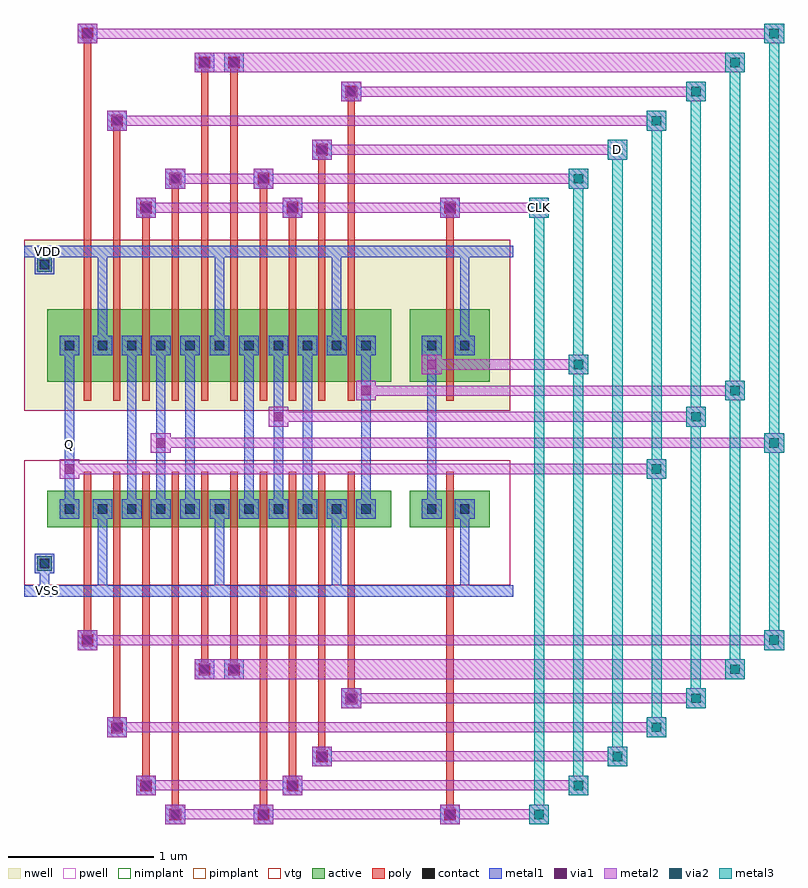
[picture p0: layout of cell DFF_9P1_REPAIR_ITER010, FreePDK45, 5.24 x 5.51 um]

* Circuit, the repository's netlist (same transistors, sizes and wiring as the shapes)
* cell DFF_9P1_REPAIR_ITER010
* pin CLK
* pin D
* pin Q
* pin VDD
* pin VSS
.SUBCKT DFF_9P1_REPAIR_ITER010 1 3 4 12 13
* net 1 CLK
* net 3 D
* net 4 Q
* net 12 VDD
* net 13 VSS
* device instance $1 r0 *1 0.4375,1.73 PMOS_VTG
M$1 12 7 4 12 PMOS_VTG L=0.05U W=0.5U AS=0.12625P AD=0.038125P PS=1.505U
+ PD=0.6525U
* device instance $2 r0 *1 0.64,1.73 PMOS_VTG
M$2 8 4 12 12 PMOS_VTG L=0.05U W=0.5U AS=0.038125P AD=0.0375P PS=0.6525U
+ PD=0.65U
* device instance $3 r0 *1 0.84,1.73 PMOS_VTG
M$3 7 1 8 12 PMOS_VTG L=0.05U W=0.5U AS=0.0375P AD=0.038125P PS=0.65U PD=0.6525U
* device instance $4 r0 *1 1.0425,1.73 PMOS_VTG
M$4 9 2 7 12 PMOS_VTG L=0.05U W=0.5U AS=0.038125P AD=0.038125P PS=0.6525U
+ PD=0.6525U
* device instance $5 r0 *1 1.245,1.73 PMOS_VTG
M$5 12 6 9 12 PMOS_VTG L=0.05U W=0.5U AS=0.038125P AD=0.038125P PS=0.6525U
+ PD=0.6525U
* device instance $6 r0 *1 1.4475,1.73 PMOS_VTG
M$6 10 6 12 12 PMOS_VTG L=0.05U W=0.5U AS=0.038125P AD=0.038125P PS=0.6525U
+ PD=0.6525U
* device instance $7 r0 *1 1.65,1.73 PMOS_VTG
M$7 5 2 10 12 PMOS_VTG L=0.05U W=0.5U AS=0.038125P AD=0.0375P PS=0.6525U
+ PD=0.65U
* device instance $8 r0 *1 1.85,1.73 PMOS_VTG
M$8 11 1 5 12 PMOS_VTG L=0.05U W=0.5U AS=0.0375P AD=0.038125P PS=0.65U
+ PD=0.6525U
* device instance $9 r0 *1 2.0525,1.73 PMOS_VTG
M$9 12 3 11 12 PMOS_VTG L=0.05U W=0.5U AS=0.038125P AD=0.038125P PS=0.6525U
+ PD=0.6525U
* device instance $10 r0 *1 2.255,1.73 PMOS_VTG
M$10 6 5 12 12 PMOS_VTG L=0.05U W=0.5U AS=0.038125P AD=0.12625P PS=0.6525U
+ PD=1.505U
* device instance $11 r0 *1 2.935,1.73 PMOS_VTG
M$11 12 1 2 12 PMOS_VTG L=0.05U W=0.5U AS=0.12625P AD=0.125P PS=1.505U PD=1.5U
* device instance $12 r0 *1 2.935,0.605 NMOS_VTG
M$12 13 1 2 13 NMOS_VTG L=0.05U W=0.25U AS=0.063125P AD=0.0625P PS=1.005U PD=1U
* device instance $13 r0 *1 0.4375,0.605 NMOS_VTG
M$13 13 7 4 13 NMOS_VTG L=0.05U W=0.25U AS=0.063125P AD=0.0190625P PS=1.005U
+ PD=0.4025U
* device instance $14 r0 *1 0.64,0.605 NMOS_VTG
M$14 8 4 13 13 NMOS_VTG L=0.05U W=0.25U AS=0.0190625P AD=0.01875P PS=0.4025U
+ PD=0.4U
* device instance $15 r0 *1 0.84,0.605 NMOS_VTG
M$15 7 2 8 13 NMOS_VTG L=0.05U W=0.25U AS=0.01875P AD=0.0190625P PS=0.4U
+ PD=0.4025U
* device instance $16 r0 *1 1.0425,0.605 NMOS_VTG
M$16 9 1 7 13 NMOS_VTG L=0.05U W=0.25U AS=0.0190625P AD=0.0190625P PS=0.4025U
+ PD=0.4025U
* device instance $17 r0 *1 1.245,0.605 NMOS_VTG
M$17 13 6 9 13 NMOS_VTG L=0.05U W=0.25U AS=0.0190625P AD=0.0190625P PS=0.4025U
+ PD=0.4025U
* device instance $18 r0 *1 1.4475,0.605 NMOS_VTG
M$18 10 6 13 13 NMOS_VTG L=0.05U W=0.25U AS=0.0190625P AD=0.0190625P PS=0.4025U
+ PD=0.4025U
* device instance $19 r0 *1 1.65,0.605 NMOS_VTG
M$19 5 1 10 13 NMOS_VTG L=0.05U W=0.25U AS=0.0190625P AD=0.01875P PS=0.4025U
+ PD=0.4U
* device instance $20 r0 *1 1.85,0.605 NMOS_VTG
M$20 11 2 5 13 NMOS_VTG L=0.05U W=0.25U AS=0.01875P AD=0.0190625P PS=0.4U
+ PD=0.4025U
* device instance $21 r0 *1 2.0525,0.605 NMOS_VTG
M$21 13 3 11 13 NMOS_VTG L=0.05U W=0.25U AS=0.0190625P AD=0.0190625P PS=0.4025U
+ PD=0.4025U
* device instance $22 r0 *1 2.255,0.605 NMOS_VTG
M$22 6 5 13 13 NMOS_VTG L=0.05U W=0.25U AS=0.0190625P AD=0.063125P PS=0.4025U
+ PD=1.005U
.ENDS DFF_9P1_REPAIR_ITER010

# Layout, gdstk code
import gdstk
lib = gdstk.Library(unit=1e-6, precision=2.5e-09)
def R(c, l, rs):  # rectangles x0, y0, x1, y1
    for r in rs: c.add(gdstk.rectangle(r[:2], r[2:], *l))
def A(c, l, x, y, w, h, nx, ny, dx, dy):  # array of equal rectangles
    R(c, l, [(x+i*dx, y+j*dy, x+i*dx+w, y+j*dy+h) for i in range(nx) for j in range(ny)])
active = (1, 0)
pwell = (2, 0)
nwell = (3, 0)
nimplant = (4, 0)
pimplant = (5, 0)
vtg = (6, 0)
poly = (9, 0)
contact = (10, 0)
metal1 = (11, 0)
via1 = (12, 0)
metal2 = (13, 0)
via2 = (14, 0)
metal3 = (15, 0)

dff_9p1_repair_iter010 = lib.new_cell('DFF_9P1_REPAIR_ITER010')
R(dff_9p1_repair_iter010, active, [(0.09,0.18,0.19,0.28), (0.16,0.48,2.5325,0.73), (2.6575,0.48,3.21,0.73), (0.16,1.48,2.5325,1.98), (2.6575,1.48,3.21,1.98), (0.09,2.24,0.19,2.34)])
R(dff_9p1_repair_iter010, pwell, [(0,0.08,3.35,0.94), (0.02,0.24,3.35,0.94)])
R(dff_9p1_repair_iter010, nwell, [(0,1.28,3.35,2.46), (0.02,1.28,3.35,2.2)])
R(dff_9p1_repair_iter010, nimplant, [(0.16,0.48,2.5325,0.73), (2.6575,0.48,3.21,0.73), (0.09,2.24,0.19,2.34)])
R(dff_9p1_repair_iter010, pimplant, [(0.09,0.18,0.19,0.28), (0.16,1.48,2.5325,1.98), (2.6575,1.48,3.21,1.98)])
R(dff_9p1_repair_iter010, vtg, [(0,0.08,3.35,0.94), (0.02,0.24,3.35,0.94), (0,1.28,3.35,2.46), (0.02,1.28,3.35,2.2)])
A(dff_9p1_repair_iter010, poly, 0.815, 0.35, 0.05, 0.51, 5, 1, 0.2025, 0)
A(dff_9p1_repair_iter010, poly, 1.825, 0.35, 0.05, 0.51, 3, 1, 0.2025, 0)
A(dff_9p1_repair_iter010, poly, 0.815, 1.35, 0.05, 0.76, 5, 1, 0.2025, 0)
A(dff_9p1_repair_iter010, poly, 1.825, 1.35, 0.05, 0.76, 3, 1, 0.2025, 0)
R(dff_9p1_repair_iter010, poly, [(1.0025,-1.54,1.0825,-1.46), (1.0175,-1.54,1.0675,0.35), (1.61,-1.54,1.69,-1.46), (1.625,-1.54,1.675,0.35), (2.895,-1.54,2.975,-1.46), (2.91,-1.54,2.96,0.35), (0.8,-1.34,0.88,-1.26), (0.815,-1.34,0.865,0.35), (1.81,-1.34,1.89,-1.26), (1.825,-1.34,1.875,0.35), (2.0125,-1.14,2.0925,-1.06), (2.0275,-1.14,2.0775,0.35), (0.6,-0.94,0.68,-0.86), (0.615,-0.94,0.665,0.35), (2.215,-0.74,2.295,-0.66), (2.23,-0.74,2.28,0.35), (1.205,-0.54,1.285,-0.46), (1.22,-0.54,1.27,0.35), (1.4075,-0.54,1.4875,-0.46), (1.4225,-0.54,1.4725,0.35), (0.3975,-0.34,0.4775,-0.26), (0.4125,-0.34,0.4625,0.35), (0.4125,0.35,0.4625,0.86), (0.615,0.35,0.665,0.86), (2.91,0.35,2.96,0.86), (0.4125,1.35,0.4625,2.11), (0.615,1.35,0.665,2.11), (2.91,1.35,2.96,2.11), (0.4125,2.11,0.4625,3.92), (0.615,2.11,0.665,3.32), (0.815,2.11,0.865,2.72), (1.0175,2.11,1.0675,2.92), (1.22,2.11,1.27,3.72), (1.4225,2.11,1.4725,3.72), (1.625,2.11,1.675,2.92), (1.825,2.11,1.875,2.72), (2.0275,2.11,2.0775,3.12), (2.23,2.11,2.28,3.52), (2.91,2.11,2.96,2.72), (0.8,2.64,0.88,2.72), (1.81,2.64,1.89,2.72), (2.895,2.64,2.975,2.72), (1.0025,2.84,1.0825,2.92), (1.61,2.84,1.69,2.92), (2.0125,3.04,2.0925,3.12), (0.6,3.24,0.68,3.32), (2.215,3.44,2.295,3.52), (1.205,3.64,1.285,3.72), (1.4075,3.64,1.4875,3.72), (0.3975,3.84,0.4775,3.92)])
A(dff_9p1_repair_iter010, contact, 0.91, 0.5725, 0.065, 0.065, 5, 2, 0.2025, 1.125)
A(dff_9p1_repair_iter010, contact, 1.92, 0.5725, 0.065, 0.065, 3, 2, 0.2025, 1.125)
R(dff_9p1_repair_iter010, contact, [(1.01,-1.5325,1.075,-1.4675), (1.6175,-1.5325,1.6825,-1.4675), (2.9025,-1.5325,2.9675,-1.4675), (0.8075,-1.3325,0.8725,-1.2675), (1.8175,-1.3325,1.8825,-1.2675), (2.02,-1.1325,2.085,-1.0675), (0.6075,-0.9325,0.6725,-0.8675), (2.2225,-0.7325,2.2875,-0.6675), (1.2125,-0.5325,1.2775,-0.4675), (1.415,-0.5325,1.48,-0.4675), (0.405,-0.3325,0.47,-0.2675), (0.1075,0.1975,0.1725,0.2625), (0.28,0.5725,0.345,0.6375), (0.5075,0.5725,0.5725,0.6375), (0.71,0.5725,0.775,0.6375), (2.7775,0.5725,2.8425,0.6375), (3.005,0.5725,3.07,0.6375), (0.28,1.6975,0.345,1.7625), (0.5075,1.6975,0.5725,1.7625), (0.71,1.6975,0.775,1.7625), (2.7775,1.6975,2.8425,1.7625), (3.005,1.6975,3.07,1.7625), (0.1075,2.2575,0.1725,2.3225), (0.8075,2.6475,0.8725,2.7125), (1.8175,2.6475,1.8825,2.7125), (2.9025,2.6475,2.9675,2.7125), (1.01,2.8475,1.075,2.9125), (1.6175,2.8475,1.6825,2.9125), (2.02,3.0475,2.085,3.1125), (0.6075,3.2475,0.6725,3.3125), (2.2225,3.4475,2.2875,3.5125), (1.2125,3.6475,1.2775,3.7125), (1.415,3.6475,1.48,3.7125), (0.405,3.8475,0.47,3.9125)])
A(dff_9p1_repair_iter010, metal1, 0.5075, 0.04, 0.065, 0.565, 3, 1, 0.8075, 0)
A(dff_9p1_repair_iter010, metal1, 0.875, 0.5375, 0.135, 0.135, 5, 2, 0.2025, 1.125)
A(dff_9p1_repair_iter010, metal1, 1.885, 0.5375, 0.135, 0.135, 3, 2, 0.2025, 1.125)
A(dff_9p1_repair_iter010, metal1, 0.5075, 1.73, 0.065, 0.65, 3, 1, 0.8075, 0)
R(dff_9p1_repair_iter010, metal1, [(0.975,-1.5675,1.11,-1.4325), (1.5825,-1.5675,1.7175,-1.4325), (2.8675,-1.5675,3.0025,-1.4325), (0.7725,-1.3675,0.9075,-1.2325), (1.7825,-1.3675,1.9175,-1.2325), (1.985,-1.1675,2.12,-1.0325), (0.5725,-0.9675,0.7075,-0.8325), (2.1875,-0.7675,2.3225,-0.6325), (1.1775,-0.5675,1.3125,-0.4325), (1.38,-0.5675,1.515,-0.4325), (0.37,-0.3675,0.505,-0.2325), (0,0,3.37,0.08), (0.1075,0.04,0.1725,0.23), (3.005,0.04,3.07,0.605), (0.0725,0.1625,0.2075,0.2975), (0.245,0.5375,0.38,0.6725), (0.4725,0.5375,0.6075,0.6725), (0.675,0.5375,0.81,0.6725), (2.7425,0.5375,2.8775,0.6725), (2.97,0.5375,3.105,0.6725), (0.28,0.605,0.345,1.73), (0.71,0.605,0.775,1.73), (0.91,0.605,0.975,1.73), (1.1125,0.605,1.1775,1.73), (1.5175,0.605,1.5825,1.73), (1.72,0.605,1.785,1.73), (1.92,0.605,1.985,1.73), (2.325,0.605,2.39,1.73), (2.7775,0.605,2.8425,1.73), (0.245,1.6625,0.38,1.7975), (0.4725,1.6625,0.6075,1.7975), (0.675,1.6625,0.81,1.7975), (2.7425,1.6625,2.8775,1.7975), (2.97,1.6625,3.105,1.7975), (3.005,1.73,3.07,2.38), (0.0725,2.2225,0.2075,2.3575), (0.1075,2.29,0.1725,2.38), (0,2.34,3.37,2.42), (0.7725,2.6125,0.9075,2.7475), (1.7825,2.6125,1.9175,2.7475), (2.8675,2.6125,3.0025,2.7475), (0.975,2.8125,1.11,2.9475), (1.5825,2.8125,1.7175,2.9475), (1.985,3.0125,2.12,3.1475), (0.5725,3.2125,0.7075,3.3475), (2.1875,3.4125,2.3225,3.5475), (1.1775,3.6125,1.3125,3.7475), (1.38,3.6125,1.515,3.7475), (0.37,3.8125,0.505,3.9475)])
R(dff_9p1_repair_iter010, via1, [(1.01,-1.5325,1.075,-1.4675), (1.6175,-1.5325,1.6825,-1.4675), (2.9025,-1.5325,2.9675,-1.4675), (0.8075,-1.3325,0.8725,-1.2675), (1.8175,-1.3325,1.8825,-1.2675), (2.02,-1.1325,2.085,-1.0675), (0.6075,-0.9325,0.6725,-0.8675), (2.2225,-0.7325,2.2875,-0.6675), (1.2125,-0.5325,1.2775,-0.4675), (1.415,-0.5325,1.48,-0.4675), (0.405,-0.3325,0.47,-0.2675), (0.28,0.8475,0.345,0.9125), (0.91,1.0275,0.975,1.0925), (1.72,1.2075,1.785,1.2725), (2.325,1.3875,2.39,1.4525), (2.7775,1.5675,2.8425,1.6325), (0.8075,2.6475,0.8725,2.7125), (1.8175,2.6475,1.8825,2.7125), (2.9025,2.6475,2.9675,2.7125), (1.01,2.8475,1.075,2.9125), (1.6175,2.8475,1.6825,2.9125), (2.02,3.0475,2.085,3.1125), (0.6075,3.2475,0.6725,3.3125), (2.2225,3.4475,2.2875,3.5125), (1.2125,3.6475,1.2775,3.7125), (1.415,3.6475,1.48,3.7125), (0.405,3.8475,0.47,3.9125)])
R(dff_9p1_repair_iter010, metal2, [(0.975,-1.5675,1.11,-1.4325), (1.5825,-1.5675,1.7175,-1.4325), (2.8675,-1.5675,3.0025,-1.4325), (3.4825,-1.5675,3.6175,-1.4325), (3.4825,-1.5675,3.6175,-1.4325), (3.4825,-1.5675,3.6175,-1.4325), (1.0075,-1.535,3.585,-1.465), (1.615,-1.535,3.585,-1.465), (2.9,-1.535,3.585,-1.465), (0.7725,-1.3675,0.9075,-1.2325), (1.7825,-1.3675,1.9175,-1.2325), (3.7525,-1.3675,3.8875,-1.2325), (3.7525,-1.3675,3.8875,-1.2325), (0.805,-1.335,3.855,-1.265), (1.815,-1.335,3.855,-1.265), (1.985,-1.1675,2.12,-1.0325), (4.0225,-1.1675,4.1575,-1.0325), (2.0175,-1.135,4.125,-1.065), (0.5725,-0.9675,0.7075,-0.8325), (4.2925,-0.9675,4.4275,-0.8325), (0.605,-0.935,4.395,-0.865), (2.1875,-0.7675,2.3225,-0.6325), (4.5625,-0.7675,4.6975,-0.6325), (2.22,-0.735,4.665,-0.665), (1.1775,-0.5675,1.3125,-0.4325), (1.1775,-0.5675,4.9675,-0.4325), (1.38,-0.5675,1.515,-0.4325), (4.8325,-0.5675,4.9675,-0.4325), (4.8325,-0.5675,4.9675,-0.4325), (1.21,-0.535,4.935,-0.465), (1.4125,-0.535,4.935,-0.465), (0.37,-0.3675,0.505,-0.2325), (5.1025,-0.3675,5.2375,-0.2325), (0.4025,-0.335,5.205,-0.265), (0.245,0.8125,0.38,0.9475), (4.2925,0.8125,4.4275,0.9475), (0.2775,0.845,4.395,0.915), (0.875,0.9925,1.01,1.1275), (5.1025,0.9925,5.2375,1.1275), (0.9075,1.025,5.205,1.095), (1.685,1.1725,1.82,1.3075), (4.5625,1.1725,4.6975,1.3075), (1.7175,1.205,4.665,1.275), (2.29,1.3525,2.425,1.4875), (4.8325,1.3525,4.9675,1.4875), (2.3225,1.385,4.935,1.455), (2.7425,1.5325,2.8775,1.6675), (3.7525,1.5325,3.8875,1.6675), (2.775,1.565,3.855,1.635), (0.7725,2.6125,0.9075,2.7475), (1.7825,2.6125,1.9175,2.7475), (2.8675,2.6125,3.0025,2.7475), (3.4825,2.6125,3.6175,2.7475), (3.4825,2.6125,3.6175,2.7475), (3.4825,2.6125,3.6175,2.7475), (0.805,2.645,3.585,2.715), (1.815,2.645,3.585,2.715), (2.9,2.645,3.585,2.715), (0.975,2.8125,1.11,2.9475), (1.5825,2.8125,1.7175,2.9475), (3.7525,2.8125,3.8875,2.9475), (3.7525,2.8125,3.8875,2.9475), (1.0075,2.845,3.855,2.915), (1.615,2.845,3.855,2.915), (1.985,3.0125,2.12,3.1475), (4.0225,3.0125,4.1575,3.1475), (2.0175,3.045,4.125,3.115), (0.5725,3.2125,0.7075,3.3475), (4.2925,3.2125,4.4275,3.3475), (0.605,3.245,4.395,3.315), (2.1875,3.4125,2.3225,3.5475), (4.5625,3.4125,4.6975,3.5475), (2.22,3.445,4.665,3.515), (1.1775,3.6125,1.3125,3.7475), (1.1775,3.6125,4.9675,3.7475), (1.38,3.6125,1.515,3.7475), (4.8325,3.6125,4.9675,3.7475), (4.8325,3.6125,4.9675,3.7475), (1.21,3.645,4.935,3.715), (1.4125,3.645,4.935,3.715), (0.37,3.8125,0.505,3.9475), (5.1025,3.8125,5.2375,3.9475), (0.4025,3.845,5.205,3.915)])
R(dff_9p1_repair_iter010, via2, [(3.5175,-1.5325,3.5825,-1.4675), (3.5175,-1.5325,3.5825,-1.4675), (3.5175,-1.5325,3.5825,-1.4675), (3.7875,-1.3325,3.8525,-1.2675), (3.7875,-1.3325,3.8525,-1.2675), (4.0575,-1.1325,4.1225,-1.0675), (4.3275,-0.9325,4.3925,-0.8675), (4.5975,-0.7325,4.6625,-0.6675), (4.8675,-0.5325,4.9325,-0.4675), (4.8675,-0.5325,4.9325,-0.4675), (5.1375,-0.3325,5.2025,-0.2675), (4.3275,0.8475,4.3925,0.9125), (5.1375,1.0275,5.2025,1.0925), (4.5975,1.2075,4.6625,1.2725), (4.8675,1.3875,4.9325,1.4525), (3.7875,1.5675,3.8525,1.6325), (3.5175,2.6475,3.5825,2.7125), (3.5175,2.6475,3.5825,2.7125), (3.5175,2.6475,3.5825,2.7125), (3.7875,2.8475,3.8525,2.9125), (3.7875,2.8475,3.8525,2.9125), (4.0575,3.0475,4.1225,3.1125), (4.3275,3.2475,4.3925,3.3125), (4.5975,3.4475,4.6625,3.5125), (4.8675,3.6475,4.9325,3.7125), (4.8675,3.6475,4.9325,3.7125), (5.1375,3.8475,5.2025,3.9125)])
R(dff_9p1_repair_iter010, metal3, [(3.4825,-1.5675,3.6175,-1.4325), (3.4825,-1.5675,3.6175,-1.4325), (3.4825,-1.5675,3.6175,-1.4325), (3.515,-1.535,3.585,2.715), (3.7525,-1.3675,3.8875,-1.2325), (3.7525,-1.3675,3.8875,-1.2325), (3.785,-1.335,3.855,2.915), (4.0225,-1.1675,4.1575,-1.0325), (4.055,-1.135,4.125,3.115), (4.2925,-0.9675,4.4275,-0.8325), (4.325,-0.935,4.395,3.315), (4.5625,-0.7675,4.6975,-0.6325), (4.595,-0.735,4.665,3.515), (4.8325,-0.5675,4.9675,-0.4325), (4.8325,-0.5675,4.9675,-0.4325), (4.865,-0.535,4.935,3.715), (5.1025,-0.3675,5.2375,-0.2325), (5.135,-0.335,5.205,3.915), (4.2925,0.8125,4.4275,0.9475), (5.1025,0.9925,5.2375,1.1275), (4.5625,1.1725,4.6975,1.3075), (4.8325,1.3525,4.9675,1.4875), (3.7525,1.5325,3.8875,1.6675), (3.4825,2.6125,3.6175,2.7475), (3.4825,2.6125,3.6175,2.7475), (3.4825,2.6125,3.6175,2.7475), (3.7525,2.8125,3.8875,2.9475), (3.7525,2.8125,3.8875,2.9475), (4.0225,3.0125,4.1575,3.1475), (4.2925,3.2125,4.4275,3.3475), (4.5625,3.4125,4.6975,3.5475), (4.8325,3.6125,4.9675,3.7475), (4.8325,3.6125,4.9675,3.7475), (5.1025,3.8125,5.2375,3.9475)])
dff_9p1_repair_iter010.add(gdstk.Label('VDD', (0.16,2.38), layer=11, texttype=0))
dff_9p1_repair_iter010.add(gdstk.Label('VSS', (0.16,0.04), layer=11, texttype=0))
dff_9p1_repair_iter010.add(gdstk.Label('Q', (0.3125,1.05), layer=11, texttype=0))
dff_9p1_repair_iter010.add(gdstk.Label('CLK', (3.55,2.68), layer=15, texttype=0))
dff_9p1_repair_iter010.add(gdstk.Label('D', (4.09,3.08), layer=15, texttype=0))

lib.write_gds('DFF_9P1_REPAIR_ITER010.gds')
